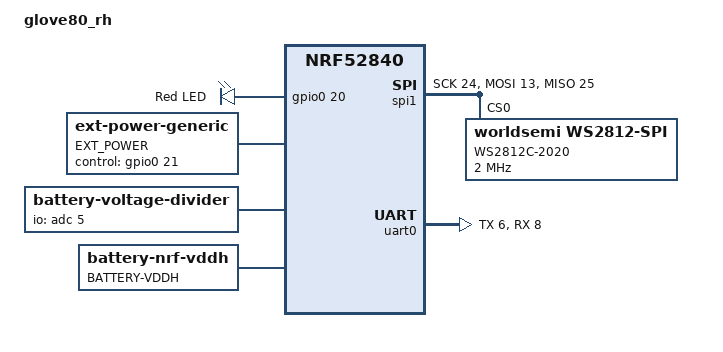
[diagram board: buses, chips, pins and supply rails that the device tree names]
/*
 * Copyright (c) 2021 The ZMK Contributors
 *
 * SPDX-License-Identifier: MIT
 */

/dts-v1/;
#include <nordic/nrf52840_qiaa.dtsi>
#include "glove80.dtsi"

/ {
	model = "glove80_rh";
	compatible = "glove80_rh";

	chosen {
        zmk,underglow = &led_strip;
	};

	leds {
		compatible = "gpio-leds";
		red_led: led_0 {
			gpios = <&gpio0 20 GPIO_ACTIVE_HIGH>;
			label = "Red LED";
		};
	};

	ext-power {
		compatible = "zmk,ext-power-generic";
		label = "EXT_POWER";
		control-gpios = <&gpio0 21 GPIO_ACTIVE_HIGH>; /**[SC] WS2812_CE */
		init-delay-ms = <10>;
	};

	vbatt-divider {
		compatible = "zmk,battery-voltage-divider";
		label = "BATTERY";
		io-channels = <&adc 5>;
		output-ohms = <820000>; /** Double check that this is right */
		full-ohms = <(1500000 + 820000)>;
	};

	vbatt-vddh {
		compatible = "zmk,battery-nrf-vddh";
		label = "BATTERY-VDDH";
	};
};

&spi1 {
	compatible = "nordic,nrf-spim";
	/* Cannot be used together with i2c0. */
	status = "okay";
	mosi-pin = <13>;
	// Unused pins, needed for SPI definition, but not used by the ws2812 driver itself.
	sck-pin = <24>; // NC
	miso-pin = <25>; // NC

	led_strip: ws2812@0 {
		compatible = "worldsemi,ws2812-spi";
		label = "WS2812C-2020";

		/* SPI */
		reg = <0>; /* ignored, but necessary for SPI bindings */
		spi-max-frequency = <2000000>;

		/* WS2812 */
		chain-length = <40>;
		spi-one-frame = <0x70>;
		spi-zero-frame = <0x40>;
	};
};

// [SC] Not sure if this section is necessary
&uart0 {
	compatible = "nordic,nrf-uarte";
	tx-pin = <6>;
	rx-pin = <8>;
};

&default_transform {
	col-offset = <7>;
};

&kscan0 {
	row-gpios
		= <&gpio0 26 GPIO_OPEN_SOURCE> // RH ROW1
		, <&gpio0 5 GPIO_OPEN_SOURCE> // RH ROW2
		, <&gpio0 7 GPIO_OPEN_SOURCE> // RH ROW3
		, <&gpio1 8 GPIO_OPEN_SOURCE> // RH ROW4
		, <&gpio0 11 GPIO_OPEN_SOURCE> // RH ROW5
		, <&gpio0 12 GPIO_OPEN_SOURCE> // RH ROW6
		;
	col-gpios
		= <&gpio0 2 (GPIO_ACTIVE_HIGH | GPIO_PULL_DOWN)> // RH Thumb
		, <&gpio1 4 (GPIO_ACTIVE_HIGH | GPIO_PULL_DOWN)> // RH COL1
		, <&gpio1 6 (GPIO_ACTIVE_HIGH | GPIO_PULL_DOWN)> // RH COL2
		, <&gpio1 7 (GPIO_ACTIVE_HIGH | GPIO_PULL_DOWN)> // RH COL3
		, <&gpio1 5 (GPIO_ACTIVE_HIGH | GPIO_PULL_DOWN)> // RH COL4
		, <&gpio1 3 (GPIO_ACTIVE_HIGH | GPIO_PULL_DOWN)> // RH COL5
		, <&gpio1 1 (GPIO_ACTIVE_HIGH | GPIO_PULL_DOWN)> // RH COL6
		;
};
